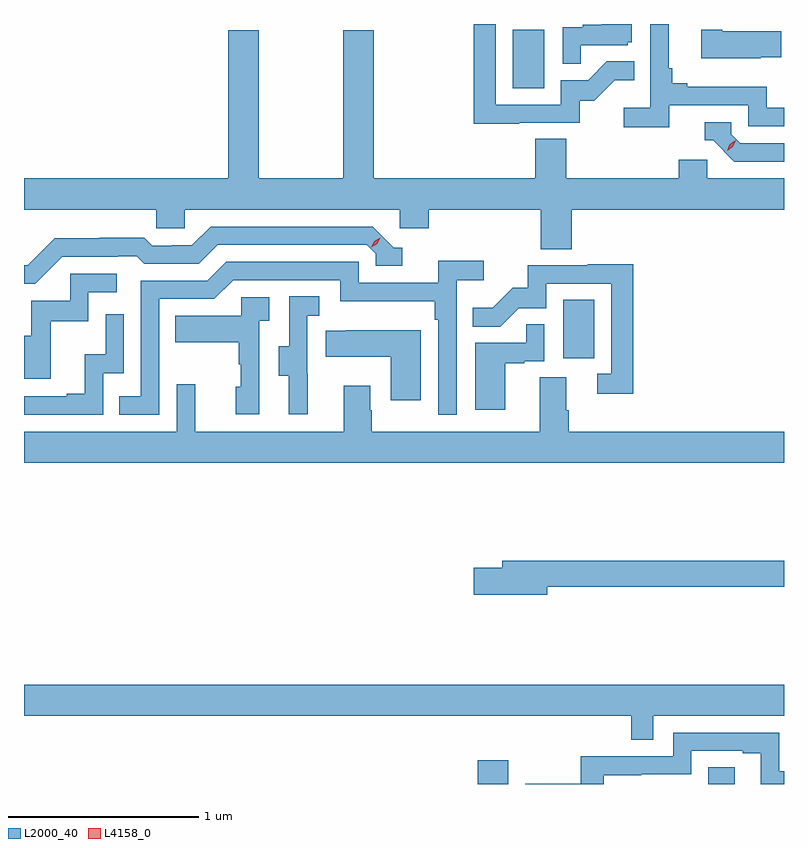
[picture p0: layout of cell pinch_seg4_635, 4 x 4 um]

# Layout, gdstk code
import gdstk
lib = gdstk.Library(unit=1e-6, precision=1e-09)
def R(c, l, rs):  # rectangles x0, y0, x1, y1
    for r in rs: c.add(gdstk.rectangle(r[:2], r[2:], *l))
def P(c, l, *ps):  # polygons
    for p in ps: c.add(gdstk.Polygon(p, *l))
L2000_40 = (2000, 40)
L4158_0 = (4158, 0)

pinch_seg4_635 = lib.new_cell('pinch_seg4_635')
R(pinch_seg4_635, L2000_40, [(1045.808,756.501,1045.969,756.625), (1047.023,756.501,1047.163,756.59), (1046.258,758.742,1046.422,759.049), (1045.994,760.164,1046.158,760.471)])
P(pinch_seg4_635, L2000_40, [(1046.816,760.074),(1047.234,760.074),(1047.234,759.963),(1047.421,759.963),(1047.421,760.059),(1047.33,760.059),(1047.33,760.171),(1046.911,760.171),(1046.911,760.19),(1046.834,760.19),(1046.834,760.267),(1046.815,760.267),(1046.815,760.501),(1046.718,760.501),(1046.718,760.06),(1046.577,760.06),(1046.577,759.958),(1046.816,759.958)],
  [(1046.027,759.981),(1046.346,759.981),(1046.346,760.098),(1046.422,760.098),(1046.529,760.205),(1046.633,760.205),(1046.633,760.304),(1046.489,760.304),(1046.391,760.206),(1046.247,760.206),(1046.247,760.077),(1045.905,760.077),(1045.905,760.501),(1045.789,760.501),(1045.789,759.976),(1046.027,759.976)],
  [(1046.351,760.389),(1046.598,760.389),(1046.598,760.404),(1046.62,760.404),(1046.62,760.501),(1046.462,760.501),(1046.462,760.498),(1046.363,760.498),(1046.363,760.485),(1046.256,760.485),(1046.256,760.291),(1046.351,760.291)],
  [(1047.299,760.325),(1047.407,760.325),(1047.407,760.462),(1047.097,760.462),(1047.097,760.47),(1046.985,760.47),(1046.985,760.322),(1047.299,760.322)],
  [(1046.305,759.524),(1047.421,759.524),(1047.421,759.688),(1047.018,759.688),(1047.018,759.786),(1046.867,759.786),(1046.867,759.688),(1046.276,759.688),(1046.276,759.896),(1046.111,759.896),(1046.111,759.688),(1045.262,759.688),(1045.262,760.468),(1045.102,760.468),(1045.102,759.688),(1044.657,759.688),(1044.657,760.468),(1044.497,760.468),(1044.497,759.688),(1043.421,759.688),(1043.421,759.524),(1044.117,759.524),(1044.117,759.426),(1044.267,759.426),(1044.267,759.524),(1045.398,759.524),(1045.398,759.426),(1045.55,759.426),(1045.55,759.524),(1046.141,759.524),(1046.141,759.316),(1046.305,759.316)],
  [(1047.421,759.873),(1047.192,759.873),(1047.144,759.921),(1047.144,759.984),(1047.005,759.984),(1047.005,759.888),(1047.048,759.888),(1047.159,759.777),(1047.421,759.777)],
  [(1043.622,759.276),(1043.915,759.276),(1043.915,759.279),(1044.014,759.279),(1044.053,759.24),(1044.342,759.24),(1044.441,759.339),(1045.224,759.339),(1045.272,759.291),(1045.272,759.228),(1045.411,759.228),(1045.411,759.324),(1045.368,759.324),(1045.257,759.435),(1044.404,759.435),(1044.305,759.336),(1044.198,759.336),(1044.198,759.333),(1044.095,759.333),(1044.053,759.376),(1043.82,759.376),(1043.82,759.373),(1043.584,759.373),(1043.442,759.231),(1043.421,759.231),(1043.421,759.135),(1043.481,759.135)],
  [(1044.132,759.054),(1044.423,759.054),(1044.522,759.153),(1045.086,759.153),(1045.086,759.041),(1045.582,759.041),(1045.582,758.945),(1045.602,758.945),(1045.602,758.445),(1045.698,758.445),(1045.698,759.152),(1045.84,759.152),(1045.84,759.254),(1045.601,759.254),(1045.601,759.138),(1045.182,759.138),(1045.182,759.249),(1044.485,759.249),(1044.386,759.15),(1044.036,759.15),(1044.036,758.541),(1043.923,758.541),(1043.923,758.445),(1044.132,758.445)],
  [(1046.627,759.236),(1046.389,759.236),(1046.389,759.231),(1046.071,759.231),(1046.071,759.114),(1045.994,759.114),(1045.887,759.007),(1045.783,759.007),(1045.783,758.908),(1045.927,758.908),(1046.025,759.006),(1046.169,759.006),(1046.169,759.135),(1046.511,759.135),(1046.511,758.661),(1046.439,758.661),(1046.439,758.556),(1046.627,758.556)],
  [(1043.561,758.937),(1043.76,758.937),(1043.76,759.09),(1043.908,759.09),(1043.908,759.186),(1043.664,759.186),(1043.664,759.045),(1043.459,759.045),(1043.459,758.859),(1043.421,758.859),(1043.421,758.634),(1043.561,758.634)],
  [(1044.914,758.661),(1044.912,758.661),(1044.912,758.965),(1044.976,758.965),(1044.976,759.068),(1044.816,759.068),(1044.816,758.805),(1044.761,758.805),(1044.761,758.65),(1044.815,758.65),(1044.815,758.448),(1044.914,758.448)],
  [(1044.66,758.939),(1044.712,758.939),(1044.712,759.063),(1044.564,759.063),(1044.564,758.965),(1044.217,758.965),(1044.217,758.825),(1044.552,758.825),(1044.552,758.711),(1044.562,758.711),(1044.562,758.592),(1044.536,758.592),(1044.536,758.448),(1044.66,758.448)],
  [(1043.838,758.664),(1043.946,758.664),(1043.946,758.974),(1043.85,758.974),(1043.85,758.762),(1043.741,758.762),(1043.741,758.554),(1043.645,758.554),(1043.645,758.541),(1043.421,758.541),(1043.421,758.445),(1043.838,758.445)],
  [(1045.954,758.715),(1046.054,758.715),(1046.054,758.727),(1046.16,758.727),(1046.16,758.921),(1046.065,758.921),(1046.065,758.823),(1045.796,758.823),(1045.796,758.472),(1045.954,758.472)],
  [(1045.51,758.89),(1045.117,758.89),(1045.117,758.887),(1045.009,758.887),(1045.009,758.75),(1045.352,758.75),(1045.352,758.52),(1045.51,758.52)],
  [(1047.421,758.356),(1046.288,758.356),(1046.288,758.468),(1046.275,758.468),(1046.275,758.642),(1046.135,758.642),(1046.135,758.356),(1045.251,758.356),(1045.251,758.468),(1045.243,758.468),(1045.243,758.596),(1045.103,758.596),(1045.103,758.356),(1044.323,758.356),(1044.323,758.605),(1044.225,758.605),(1044.225,758.356),(1043.421,758.356),(1043.421,758.192),(1047.421,758.192)],
  [(1046.176,757.54),(1047.421,757.54),(1047.421,757.676),(1045.937,757.676),(1045.937,757.64),(1045.788,757.64),(1045.788,757.498),(1046.176,757.498)],
  [(1046.733,756.86),(1047.421,756.86),(1047.421,757.024),(1043.421,757.024),(1043.421,756.86),(1046.617,756.86),(1046.617,756.733),(1046.733,756.733)],
  [(1046.473,756.547),(1046.669,756.547),(1046.669,756.552),(1046.934,756.552),(1046.934,756.675),(1047.203,756.675),(1047.203,756.663),(1047.299,756.663),(1047.299,756.501),(1047.421,756.501),(1047.421,756.567),(1047.396,756.567),(1047.396,756.771),(1046.838,756.771),(1046.838,756.648),(1046.352,756.648),(1046.352,756.502),(1046.058,756.502),(1046.058,756.501),(1046.473,756.501)])
P(pinch_seg4_635, L4158_0, [(1045.248,759.325),(1045.248,759.326),(1045.264,759.358),(1045.295,759.377),(1045.295,759.377),(1045.295,759.377),(1045.279,759.344),(1045.248,759.325)],
  [(1047.121,759.835),(1047.121,759.835),(1047.136,759.868),(1047.167,759.888),(1047.167,759.888),(1047.167,759.888),(1047.152,759.855),(1047.122,759.835)])

lib.write_gds('pinch_seg4_635.gds')
